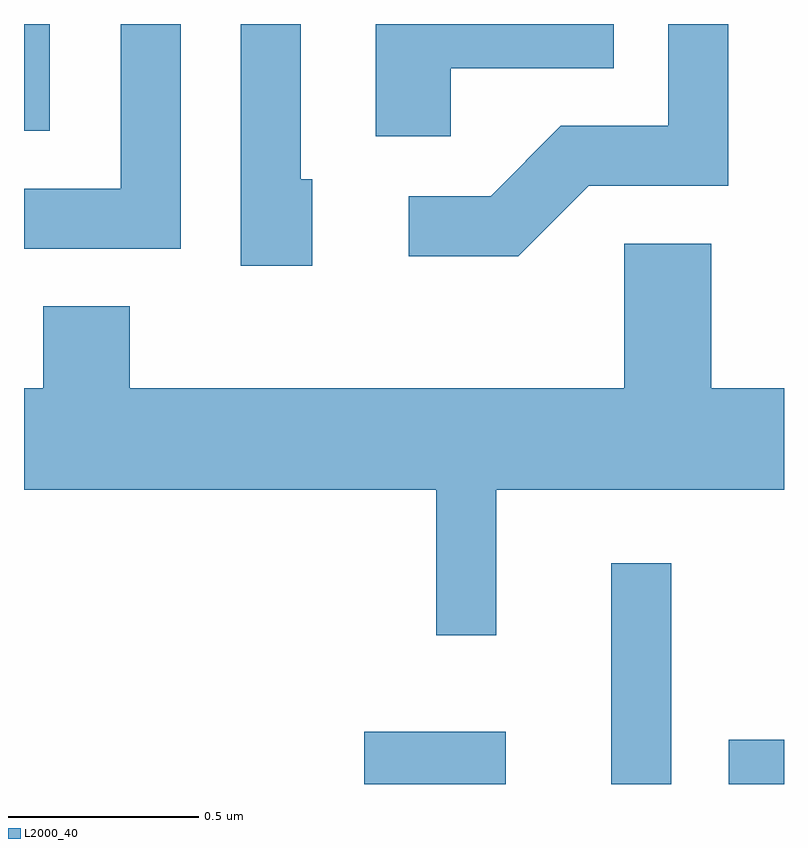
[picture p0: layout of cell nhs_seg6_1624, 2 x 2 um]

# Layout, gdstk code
import gdstk
lib = gdstk.Library(unit=1e-6, precision=1e-09)
def R(c, l, rs):  # rectangles x0, y0, x1, y1
    for r in rs: c.add(gdstk.rectangle(r[:2], r[2:], *l))
def P(c, l, *ps):  # polygons
    for p in ps: c.add(gdstk.Polygon(p, *l))
L2000_40 = (2000, 40)

nhs_seg6_1624 = lib.new_cell('nhs_seg6_1624')
R(nhs_seg6_1624, L2000_40, [(197.506,1649.162,197.879,1649.299), (198.156,1649.162,198.314,1649.743), (198.466,1649.162,198.611,1649.279), (196.611,1650.881,196.679,1651.162)])
P(nhs_seg6_1624, L2000_40, [(197.369,1650.754),(197.339,1650.754),(197.339,1651.162),(197.181,1651.162),(197.181,1650.526),(197.369,1650.526)],
  [(198.097,1650.736),(198.464,1650.736),(198.464,1651.162),(198.306,1651.162),(198.306,1650.894),(198.024,1650.894),(197.839,1650.709),(197.623,1650.709),(197.623,1650.551),(197.912,1650.551)],
  [(197.024,1651.162),(196.866,1651.162),(196.866,1650.729),(196.611,1650.729),(196.611,1650.571),(197.024,1650.571)],
  [(197.734,1651.046),(198.163,1651.046),(198.163,1651.162),(197.536,1651.162),(197.536,1650.866),(197.734,1650.866)],
  [(197.854,1649.936),(198.611,1649.936),(198.611,1650.204),(198.419,1650.204),(198.419,1650.584),(198.191,1650.584),(198.191,1650.204),(196.889,1650.204),(196.889,1650.419),(196.661,1650.419),(196.661,1650.204),(196.611,1650.204),(196.611,1649.936),(197.696,1649.936),(197.696,1649.553),(197.854,1649.553)])

lib.write_gds('nhs_seg6_1624.gds')
